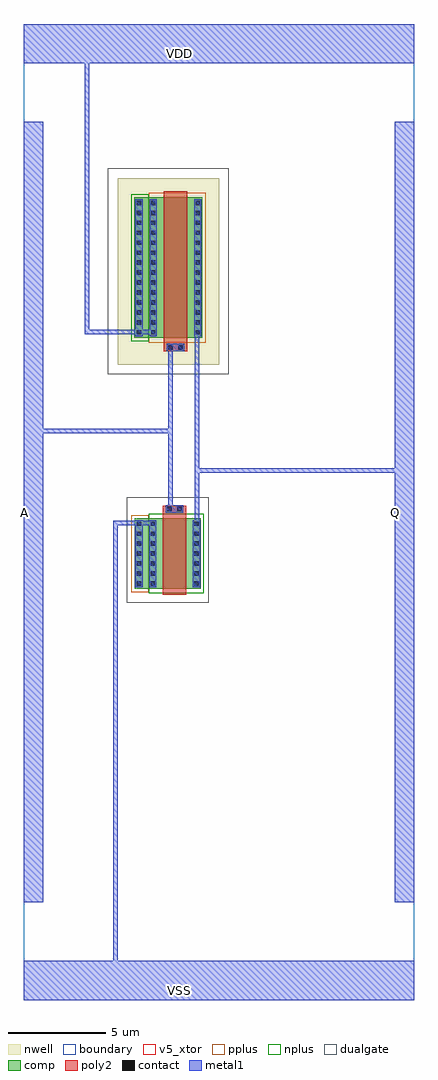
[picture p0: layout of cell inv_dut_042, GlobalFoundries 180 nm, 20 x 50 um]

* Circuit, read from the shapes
.subckt inv_dut_042 A Q VDD VSS
XM1 Q A VSS VSS nfet_05v0 w=3.6u l=1.2u
XM2 Q A VDD VDD pfet_05v0 w=7.2u l=1.2u
.ends

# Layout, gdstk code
from math import pi, radians
import gdstk
lib = gdstk.Library(unit=1e-6, precision=1e-09)
def R(c, l, rs):  # rectangles x0, y0, x1, y1
    for r in rs: c.add(gdstk.rectangle(r[:2], r[2:], *l))
def A(c, l, x, y, w, h, nx, ny, dx, dy):  # array of equal rectangles
    R(c, l, [(x+i*dx, y+j*dy, x+i*dx+w, y+j*dy+h) for i in range(nx) for j in range(ny)])
boundary = (0, 0)
nwell = (21, 0)
comp = (22, 0)
poly2 = (30, 0)
pplus = (31, 0)
nplus = (32, 0)
contact = (33, 0)
metal1 = (34, 0)
dualgate = (55, 0)
v5_xtor = (112, 1)

nfet = lib.new_cell('nfet')
R(nfet, comp, [(-0.42,0,2.95,3.6)])
R(nfet, poly2, [(0.31,-0.3,1.51,4.26)])
R(nfet, pplus, [(2.24,-0.17,3.12,3.77)])
R(nfet, nplus, [(-0.59,-0.24,2.24,3.84)])
A(nfet, contact, -0.32, 0.16, 0.22, 0.22, 1, 7, 0, 0.51)
A(nfet, contact, 1.92, 0.16, 0.22, 0.22, 1, 7, 0, 0.51)
A(nfet, contact, 2.63, 0.16, 0.22, 0.22, 1, 7, 0, 0.51)
R(nfet, contact, [(0.545,3.97,0.765,4.19), (1.055,3.97,1.275,4.19)])
R(nfet, metal1, [(-0.4,0.08,-0.02,3.52), (1.84,0.08,2.22,3.52), (2.55,0.08,2.93,3.52), (0.465,3.89,1.355,4.27)])
R(nfet, dualgate, [(-0.84,-0.71,3.37,4.68)])
R(nfet, v5_xtor, [(-0.84,-0.71,3.37,4.68)])

pfet = lib.new_cell('pfet')
R(pfet, nwell, [(-1.32,-0.99,3.87,8.57)])
R(pfet, comp, [(-0.46,0,3.01,7.2)])
R(pfet, poly2, [(0.31,-0.3,1.51,7.88)])
R(pfet, pplus, [(-0.63,-0.24,2.28,7.44)])
R(pfet, nplus, [(2.28,-0.17,3.18,7.37)])
A(pfet, contact, -0.34, 0.175, 0.22, 0.22, 1, 14, 0, 0.51)
A(pfet, contact, 1.94, 0.175, 0.22, 0.22, 1, 14, 0, 0.51)
A(pfet, contact, 2.67, 0.175, 0.22, 0.22, 1, 14, 0, 0.51)
R(pfet, contact, [(0.545,7.58,0.765,7.8), (1.055,7.58,1.275,7.8)])
R(pfet, metal1, [(-0.42,0.095,-0.04,7.105), (1.86,0.095,2.24,7.105), (2.59,0.095,2.97,7.105), (0.465,7.5,1.355,7.88)])
R(pfet, dualgate, [(-1.82,-1.49,4.37,9.07)])
R(pfet, v5_xtor, [(-1.82,-1.49,4.37,9.07)])

inv_dut_042 = lib.new_cell('inv_dut_042')
R(inv_dut_042, boundary, [(-10,-25,10,25)])
R(inv_dut_042, metal1, [(-10,-25,10,-23), (-10,-20,-9,20), (9,-20,10,20), (-10,23,10,25)])
inv_dut_042.add(gdstk.FlexPath([(-1.12,-0.705),(-1.12,9.31)], 0.23, ends="flush", simple_path=True, layer=34, datatype=0))  # metal1
inv_dut_042.add(gdstk.FlexPath([(-1.13,2.125),(9.485,2.125)], 0.23, ends="flush", simple_path=True, layer=34, datatype=0))  # metal1
inv_dut_042.add(gdstk.FlexPath([(-2.49,8.525),(-2.49,0.035)], 0.23, ends="flush", simple_path=True, layer=34, datatype=0))  # metal1
inv_dut_042.add(gdstk.FlexPath([(-6.76,23.92),(-6.76,9.23),(-3.28,9.23)], 0.23, ends="flush", simple_path=True, layer=34, datatype=0))  # metal1
inv_dut_042.add(gdstk.FlexPath([(-2.515,4.155),(-9.35,4.155)], 0.23, ends="flush", simple_path=True, layer=34, datatype=0))  # metal1
inv_dut_042.add(gdstk.FlexPath([(-5.295,-24.285),(-5.295,-0.555),(-3.28,-0.555)], 0.23, ends="flush", simple_path=True, layer=34, datatype=0))  # metal1
inv_dut_042.add(gdstk.Reference(nfet, (-1.365,-3.93), rotation=pi, x_reflection=True))
inv_dut_042.add(gdstk.Reference(pfet, (-1.32,16.12), rotation=pi))
inv_dut_042.add(gdstk.Label('VDD', (-2,23.5), layer=34, texttype=10))
inv_dut_042.add(gdstk.Label('VSS', (-2,-24.5), layer=34, texttype=10))
inv_dut_042.add(gdstk.Label('A', (-9.97,0), layer=34, texttype=10))
inv_dut_042.add(gdstk.Label('Q', (9.03,0), layer=34, texttype=10))

lib.write_gds('inv_dut_042.gds')
